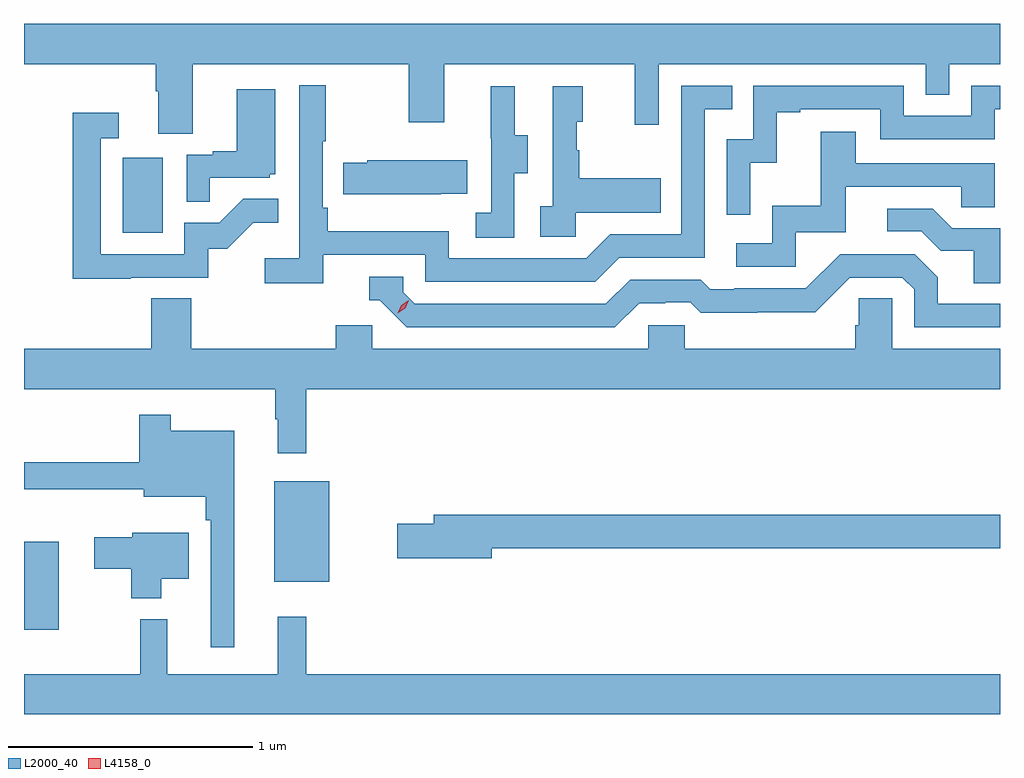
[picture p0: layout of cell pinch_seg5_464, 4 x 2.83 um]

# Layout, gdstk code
import gdstk
lib = gdstk.Library(unit=1e-6, precision=1e-09)
def R(c, l, rs):  # rectangles x0, y0, x1, y1
    for r in rs: c.add(gdstk.rectangle(r[:2], r[2:], *l))
def P(c, l, *ps):  # polygons
    for p in ps: c.add(gdstk.Polygon(p, *l))
L2000_40 = (2000, 40)
L4158_0 = (4158, 0)

pinch_seg5_464 = lib.new_cell('pinch_seg5_464')
R(pinch_seg5_464, L2000_40, [(900.402,859.77,900.544,860.131), (901.427,859.967,901.654,860.377), (900.806,861.396,900.97,861.703)])
P(pinch_seg5_464, L2000_40, [(901.093,862.088),(901.978,862.088),(901.978,861.849),(902.125,861.849),(902.125,862.088),(902.906,862.088),(902.906,861.84),(903.003,861.84),(903.003,862.088),(904.098,862.088),(904.098,861.961),(904.194,861.961),(904.194,862.088),(904.402,862.088),(904.402,862.252),(900.402,862.252),(900.402,862.088),(900.941,862.088),(900.941,861.976),(900.953,861.976),(900.953,861.802),(901.093,861.802)],
  [(901.628,861.306),(902.046,861.306),(902.046,861.195),(902.743,861.195),(902.842,861.294),(903.192,861.294),(903.192,861.903),(903.305,861.903),(903.305,861.999),(903.096,861.999),(903.096,861.39),(902.805,861.39),(902.706,861.291),(902.142,861.291),(902.142,861.403),(901.646,861.403),(901.646,861.499),(901.626,861.499),(901.626,861.772),(901.639,861.772),(901.639,862),(901.53,862),(901.53,861.292),(901.389,861.292),(901.389,861.19),(901.628,861.19)],
  [(903.378,861.683),(903.488,861.683),(903.488,861.891),(903.583,861.891),(903.583,861.903),(903.912,861.903),(903.912,861.78),(904.38,861.78),(904.38,861.903),(904.402,861.903),(904.402,861.999),(904.284,861.999),(904.284,861.876),(904.008,861.876),(904.008,861.999),(903.39,861.999),(903.39,861.78),(903.282,861.78),(903.282,861.471),(903.378,861.471)],
  [(902.412,861.64),(902.467,861.64),(902.467,861.795),(902.413,861.795),(902.413,861.997),(902.315,861.997),(902.315,861.783),(902.316,861.783),(902.316,861.479),(902.253,861.479),(902.253,861.376),(902.412,861.376)],
  [(902.664,861.479),(903.011,861.479),(903.011,861.619),(902.677,861.619),(902.677,861.734),(902.667,861.734),(902.667,861.852),(902.692,861.852),(902.692,861.997),(902.568,861.997),(902.568,861.506),(902.517,861.506),(902.517,861.381),(902.664,861.381)],
  [(901.163,861.621),(901.41,861.621),(901.41,861.636),(901.432,861.636),(901.432,861.985),(901.274,861.985),(901.274,861.73),(901.175,861.73),(901.175,861.717),(901.068,861.717),(901.068,861.523),(901.163,861.523)],
  [(900.839,861.213),(901.158,861.213),(901.158,861.33),(901.234,861.33),(901.341,861.437),(901.445,861.437),(901.445,861.536),(901.301,861.536),(901.203,861.438),(901.059,861.438),(901.059,861.309),(900.717,861.309),(900.717,861.783),(900.79,861.783),(900.79,861.889),(900.601,861.889),(900.601,861.208),(900.839,861.208)],
  [(903.564,861.399),(903.769,861.399),(903.769,861.585),(904.243,861.585),(904.243,861.501),(904.38,861.501),(904.38,861.681),(903.811,861.681),(903.811,861.811),(903.667,861.811),(903.667,861.508),(903.468,861.508),(903.468,861.354),(903.321,861.354),(903.321,861.258),(903.564,861.258)],
  [(902.111,861.557),(902.219,861.557),(902.219,861.694),(901.809,861.694),(901.809,861.684),(901.711,861.684),(901.711,861.554),(902.111,861.554)],
  [(904.402,861.414),(904.207,861.414),(904.126,861.495),(903.939,861.495),(903.939,861.402),(904.08,861.402),(904.16,861.322),(904.295,861.322),(904.295,861.19),(904.402,861.19)],
  [(902.923,861.108),(903.03,861.108),(903.03,861.111),(903.133,861.111),(903.175,861.069),(903.408,861.069),(903.408,861.071),(903.644,861.071),(903.786,861.213),(904.002,861.213),(904.05,861.165),(904.05,861.009),(904.402,861.009),(904.402,861.105),(904.147,861.105),(904.147,861.215),(904.053,861.309),(903.747,861.309),(903.606,861.168),(903.313,861.168),(903.313,861.165),(903.214,861.165),(903.175,861.204),(902.886,861.204),(902.787,861.105),(902.004,861.105),(901.956,861.153),(901.956,861.216),(901.817,861.216),(901.817,861.12),(901.86,861.12),(901.971,861.009),(902.824,861.009)],
  [(901.559,860.756),(904.402,860.756),(904.402,860.92),(903.96,860.92),(903.96,861.128),(903.823,861.128),(903.823,861.018),(903.809,861.018),(903.809,860.92),(903.111,860.92),(903.111,861.018),(902.961,861.018),(902.961,860.92),(901.83,860.92),(901.83,861.018),(901.679,861.018),(901.679,860.92),(901.088,860.92),(901.088,861.128),(900.923,861.128),(900.923,860.92),(900.402,860.92),(900.402,860.756),(901.431,860.756),(901.431,860.633),(901.442,860.633),(901.442,860.493),(901.559,860.493)],
  [(901.264,860.584),(901.003,860.584),(901.003,860.65),(900.874,860.65),(900.874,860.455),(900.402,860.455),(900.402,860.345),(900.893,860.345),(900.893,860.315),(901.147,860.315),(901.147,860.219),(901.167,860.219),(901.167,859.698),(901.264,859.698)],
  [(902.32,860.104),(904.402,860.104),(904.402,860.24),(902.081,860.24),(902.081,860.204),(901.932,860.204),(901.932,860.062),(902.32,860.062)],
  [(900.964,859.979),(901.078,859.979),(901.078,860.167),(900.846,860.167),(900.846,860.149),(900.69,860.149),(900.69,860.02),(900.842,860.02),(900.842,859.898),(900.964,859.898)],
  [(904.402,859.588),(901.559,859.588),(901.559,859.822),(901.442,859.822),(901.442,859.588),(900.989,859.588),(900.989,859.813),(900.879,859.813),(900.879,859.588),(900.402,859.588),(900.402,859.424),(904.402,859.424)])
P(pinch_seg5_464, L4158_0, [(901.933,861.067),(901.933,861.067),(901.948,861.1),(901.979,861.12),(901.979,861.12),(901.979,861.12),(901.964,861.087),(901.933,861.067)])

lib.write_gds('pinch_seg5_464.gds')
